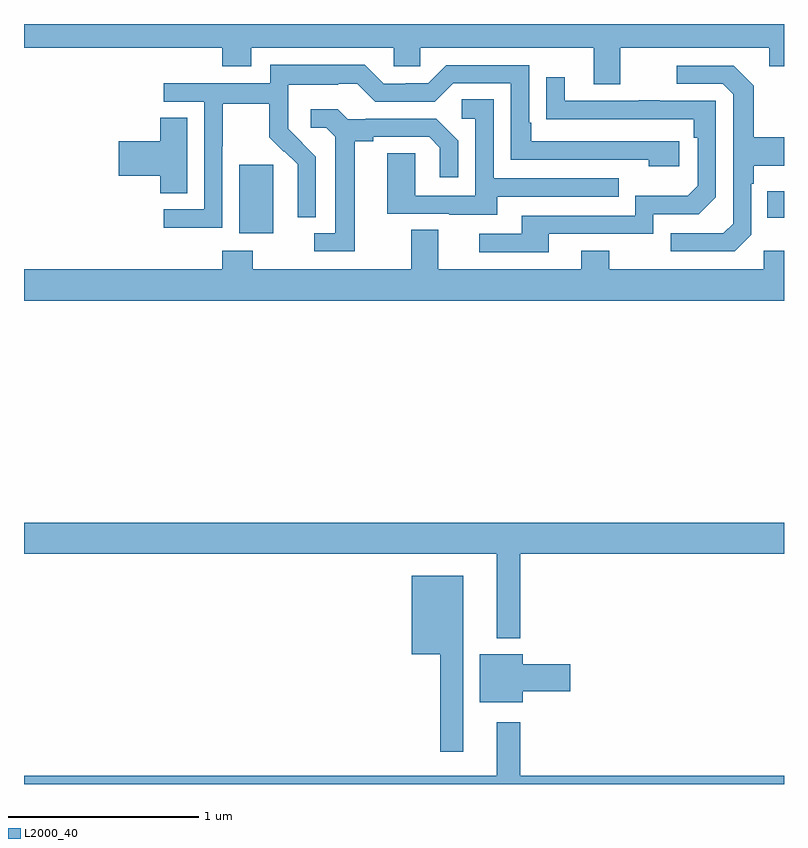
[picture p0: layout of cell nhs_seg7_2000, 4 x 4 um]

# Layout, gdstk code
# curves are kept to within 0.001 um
import gdstk
lib = gdstk.Library(unit=1e-6, precision=1e-09)
def R(c, l, rs):  # rectangles x0, y0, x1, y1
    for r in rs: c.add(gdstk.rectangle(r[:2], r[2:], *l))
def P(c, l, *ps):  # polygons
    for p in ps: c.add(gdstk.Polygon(p, *l))
L2000_40 = (2000, 40)

nhs_seg7_2000 = lib.new_cell('nhs_seg7_2000')
R(nhs_seg7_2000, L2000_40, [(244.133,1072.898,244.312,1073.259), (246.913,1072.979,247,1073.119)])
P(nhs_seg7_2000, L2000_40, [(246.139,1073.876),(246.923,1073.876),(246.923,1073.777),(247,1073.777),(247,1074),(243,1074),(243,1073.876),(244.043,1073.876),(244.043,1073.777),(244.195,1073.777),(244.195,1073.876),(244.947,1073.876),(244.947,1073.778),(245.085,1073.778),(245.085,1073.876),(245.999,1073.876),(245.999,1073.682),(246.139,1073.682)],
  [(244.044,1073.356),(244.047,1073.356),(244.047,1073.58),(244.291,1073.58),(244.291,1073.405),(244.368,1073.328),(244.371,1073.331),(244.442,1073.261),(244.442,1073.138),(244.44,1073.138),(244.44,1072.984),(244.536,1072.984),(244.536,1073.302),(244.39,1073.45),(244.39,1073.547),(244.392,1073.547),(244.392,1073.681),(244.655,1073.681),(244.655,1073.685),(244.755,1073.685),(244.848,1073.592),(245.163,1073.592),(245.259,1073.688),(245.562,1073.688),(245.562,1073.286),(246.287,1073.286),(246.287,1073.252),(246.448,1073.252),(246.448,1073.382),(245.671,1073.382),(245.671,1073.479),(245.658,1073.479),(245.658,1073.784),(245.223,1073.784),(245.127,1073.688),(245.009,1073.688),(245.009,1073.685),(244.893,1073.685),(244.793,1073.785),(244.296,1073.785),(244.296,1073.688),(243.735,1073.688),(243.735,1073.592),(243.948,1073.592),(243.948,1073.025),(243.735,1073.025),(243.735,1072.927),(244.044,1072.927)],
  [(246.828,1072.89),(246.828,1073.159),(246.841,1073.159),(246.841,1073.255),(247,1073.255),(247,1073.403),(246.841,1073.403),(246.841,1073.675),(246.735,1073.781),(246.435,1073.781),(246.435,1073.685),(246.678,1073.685),(246.732,1073.631),(246.732,1072.95),(246.681,1072.899),(246.405,1072.899),(246.405,1072.803),(246.741,1072.803)],
  [(245.761,1072.896),(246.312,1072.896),(246.312,1072.998),(246.552,1072.998),(246.642,1073.088),(246.642,1073.595),(246.347,1073.595),(246.347,1073.6),(246.235,1073.6),(246.235,1073.595),(245.845,1073.595),(245.845,1073.719),(245.749,1073.719),(245.749,1073.5),(246.526,1073.499),(246.526,1073.402),(246.546,1073.402),(246.546,1073.148),(246.493,1073.095),(246.216,1073.095),(246.216,1072.992),(245.621,1072.992),(245.621,1072.896),(245.397,1072.896),(245.397,1072.8),(245.761,1072.8)],
  [(245.491,1073.091),(246.131,1073.091),(246.131,1073.187),(245.472,1073.187),(245.472,1073.603),(245.304,1073.603),(245.304,1073.502),(245.376,1073.502),(245.376,1073.097),(245.058,1073.097),(245.058,1073.321),(244.913,1073.321),(244.913,1073.001),(245.237,1073.001),(245.237,1072.997),(245.491,1072.997)],
  [(244.741,1073.384),(244.837,1073.384),(244.837,1073.406),(245.132,1073.406),(245.189,1073.349),(245.189,1073.193),(245.286,1073.193),(245.286,1073.386),(245.17,1073.502),(244.798,1073.502),(244.798,1073.499),(244.704,1073.499),(244.652,1073.551),(244.509,1073.551),(244.509,1073.454),(244.59,1073.454),(244.637,1073.407),(244.637,1072.899),(244.527,1072.899),(244.527,1072.803),(244.741,1072.803)],
  [(243.859,1073.507),(243.716,1073.507),(243.716,1073.384),(243.498,1073.384),(243.498,1073.201),(243.716,1073.201),(243.716,1073.11),(243.859,1073.11)],
  [(247,1072.807),(246.894,1072.807),(246.894,1072.708),(246.081,1072.708),(246.081,1072.807),(245.933,1072.807),(245.933,1072.708),(245.179,1072.708),(245.179,1072.916),(245.039,1072.916),(245.039,1072.708),(244.203,1072.708),(244.203,1072.807),(244.043,1072.807),(244.043,1072.708),(243,1072.708),(243,1072.544),(247,1072.544)],
  [(245.611,1071.212),(247,1071.212),(247,1071.376),(243,1071.376),(243,1071.212),(245.489,1071.212),(245.489,1070.768),(245.611,1070.768)],
  [(245.311,1071.097),(245.042,1071.097),(245.042,1070.684),(245.19,1070.684),(245.19,1070.169),(245.311,1070.169)],
  [(245.626,1070.488),(245.875,1070.488),(245.875,1070.63),(245.626,1070.63),(245.626,1070.683),(245.399,1070.683),(245.399,1070.429),(245.626,1070.429)],
  [(247,1070.044),(245.611,1070.044),(245.611,1070.326),(245.489,1070.326),(245.489,1070.044),(243,1070.044),(243,1070),(247,1070)])

lib.write_gds('nhs_seg7_2000.gds')
